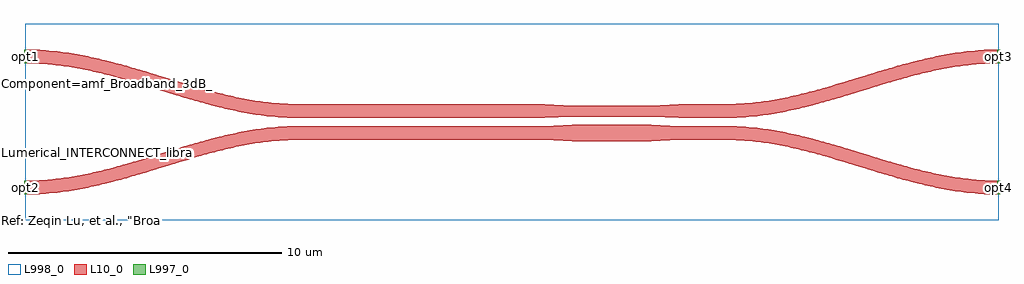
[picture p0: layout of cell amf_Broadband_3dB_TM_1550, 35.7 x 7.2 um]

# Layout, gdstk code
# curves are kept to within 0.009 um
import gdstk
lib = gdstk.Library(unit=1e-6, precision=1e-09)
def R(c, l, rs):  # rectangles x0, y0, x1, y1
    for r in rs: c.add(gdstk.rectangle(r[:2], r[2:], *l))
def P(c, l, *ps):  # polygons
    for p in ps: c.add(gdstk.Polygon(p, *l))
L10_0 = (10, 0)
L997_0 = (997, 0)
L998_0 = (998, 0)

amf_broadband_3db_tm_155 = lib.new_cell('amf_Broadband_3dB_TM_1550')
P(amf_broadband_3db_tm_155, L10_0, [(35.6,0.95),(34.959,0.971),(34.329,1.031),(33.709,1.125),(33.099,1.246),(32.396,1.415),(31.801,1.578),(29.456,2.285),(28.678,2.501),(27.896,2.687),(27.008,2.846),(26.41,2.915),(25.804,2.948),(23.9,2.95),(22.9,2.9),(20,2.9),(19,2.95),(19,3.45),(20,3.5),(22.9,3.5),(23.9,3.45),(25.922,3.445),(26.452,3.413),(27.182,3.326),(28,3.176),(28.804,2.985),(29.695,2.736),(31.938,2.059),(32.522,1.899),(33.206,1.734),(33.895,1.6),(34.49,1.516),(35.092,1.464),(35.6,1.45)],
  [(0,0.95),(0,1.45),(0.508,1.464),(1.11,1.516),(1.705,1.6),(2.394,1.734),(3.078,1.899),(3.662,2.059),(5.905,2.736),(6.796,2.985),(7.803,3.218),(8.729,3.369),(9.359,3.429),(10,3.45),(19,3.45),(19,2.95),(10,2.95),(9.392,2.93),(8.691,2.86),(7.802,2.707),(6.922,2.501),(6.144,2.285),(3.799,1.578),(3.204,1.415),(2.501,1.246),(1.891,1.125),(1.271,1.031),(0.641,0.971)],
  [(19,3.75),(19,4.25),(20,4.2),(22.9,4.2),(23.9,4.25),(25.905,4.255),(26.41,4.285),(27.008,4.354),(27.896,4.513),(28.678,4.699),(29.456,4.915),(31.801,5.622),(32.396,5.785),(33.099,5.954),(33.709,6.075),(34.329,6.169),(34.959,6.229),(35.6,6.25),(35.6,5.75),(35.092,5.736),(34.49,5.684),(33.895,5.6),(33.206,5.466),(32.522,5.301),(31.938,5.141),(29.695,4.464),(28.804,4.215),(28,4.024),(27.182,3.874),(26.452,3.787),(25.815,3.752),(23.9,3.75),(22.9,3.8),(20,3.8)],
  [(10,3.75),(9.465,3.765),(8.938,3.807),(8.418,3.874),(7.803,3.982),(7.197,4.115),(6.498,4.295),(3.662,5.141),(2.492,5.444),(1.804,5.583),(1.309,5.66),(0.608,5.73),(0,5.75),(0,6.25),(0.535,6.235),(1.062,6.193),(1.685,6.11),(2.4,5.976),(3.204,5.785),(3.7,5.65),(6.144,4.915),(7.02,4.674),(7.606,4.534),(8.098,4.435),(8.99,4.305),(9.492,4.264),(10,4.25),(19,4.25),(19,3.75)])
R(amf_broadband_3db_tm_155, L998_0, [(0,0,35.6,7.2)])
amf_broadband_3db_tm_155.add(gdstk.FlexPath([(0.05,6),(-0.05,6)], 0.5, ends="flush", simple_path=True, layer=997, datatype=0))  # L997_0
amf_broadband_3db_tm_155.add(gdstk.FlexPath([(0.05,1.2),(-0.05,1.2)], 0.5, ends="flush", simple_path=True, layer=997, datatype=0))  # L997_0
amf_broadband_3db_tm_155.add(gdstk.FlexPath([(35.55,6),(35.65,6)], 0.5, ends="flush", simple_path=True, layer=997, datatype=0))  # L997_0
amf_broadband_3db_tm_155.add(gdstk.FlexPath([(35.55,1.2),(35.65,1.2)], 0.5, ends="flush", simple_path=True, layer=997, datatype=0))  # L997_0
amf_broadband_3db_tm_155.add(gdstk.Label('Ref: Zeqin Lu, et al., "Broadband silicon photonic directional coupler using asymmetric-waveguide based phase control," Optics Express, 2015', (1,0), layer=1003, texttype=0))
amf_broadband_3db_tm_155.add(gdstk.Label('opt1', (0,6), layer=997, texttype=0))
amf_broadband_3db_tm_155.add(gdstk.Label('opt2', (0,1.2), layer=997, texttype=0))
amf_broadband_3db_tm_155.add(gdstk.Label('opt3', (35.6,6), layer=997, texttype=0))
amf_broadband_3db_tm_155.add(gdstk.Label('opt4', (35.6,1.2), layer=997, texttype=0))
amf_broadband_3db_tm_155.add(gdstk.Label('Component=amf_Broadband_3dB_TM_1550', (1,5), layer=998, texttype=0))
amf_broadband_3db_tm_155.add(gdstk.Label('Lumerical_INTERCONNECT_library=Design kits/SiEPIC_AMF', (1,2.5), layer=998, texttype=0))

lib.write_gds('amf_Broadband_3dB_TM_1550.gds')
